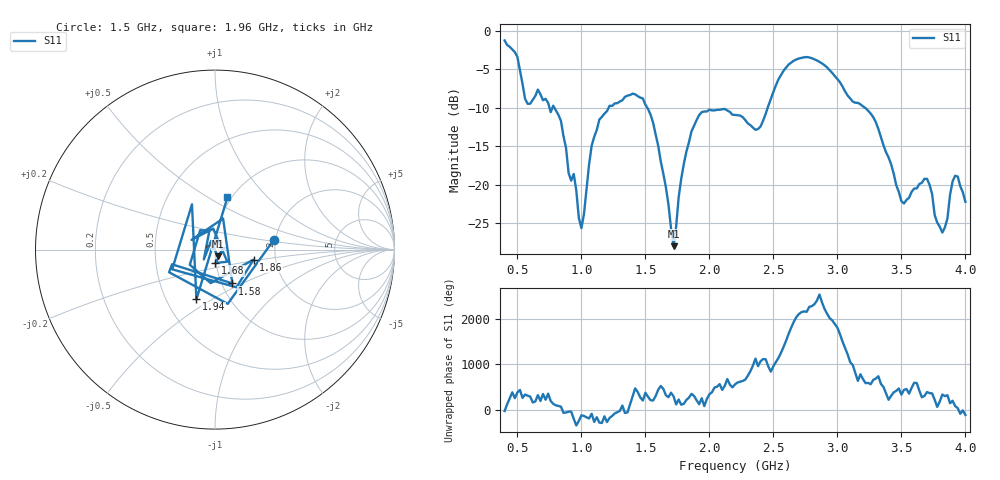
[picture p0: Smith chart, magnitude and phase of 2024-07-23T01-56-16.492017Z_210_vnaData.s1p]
!Created with skrf (http://scikit-rf.org).
# Hz S RI R 50.0
!freq ReS11 ImS11
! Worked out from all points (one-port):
!   181 points, 400 MHz to 4 GHz, reference 50 ohm
!   lowest |S11| = -28.0 dB at 1.72 GHz (marker M1), VSWR 1.08, Z = 51.3 - j3.83 ohm
!   |S11| at or under -10 dB: 788.8 MHz to 1.213 GHz (424 MHz wide, 42.4 % of centre); 1.514 GHz to 2.455 GHz (941.3 MHz wide, 47.4 % of centre); 3.215 GHz to end of sweep (the widest 3 of 4)
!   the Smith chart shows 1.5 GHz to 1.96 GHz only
!   S11 on the Smith chart (normalised r, x): 1.5 GHz: 1.95, +0.23; 1.58 GHz: 1.12, -0.44; 1.68 GHz: 0.99, -0.15; 1.86 GHz: 1.53, -0.18; 1.94 GHz: 0.71, -0.43; 1.96 GHz: 0.96, +0.61
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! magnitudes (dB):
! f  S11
! 400 MHz  -1.3
! 500 MHz  -3.4
! 580 MHz  -9.5
! 660 MHz  -7.7
! 860 MHz  -13.7
! 1 GHz  -25.7
! 1.08 GHz  -14.9
! 1.14 GHz  -11.5
! 1.3 GHz  -9.2
! 1.5 GHz  -9.6
! 1.58 GHz  -13.5
! 1.68 GHz  -22.6
! 1.72 GHz  -28.0
! 1.76 GHz  -21.6
! 1.86 GHz  -13.1
! 1.94 GHz  -10.6
! 1.96 GHz  -10.5
! 2.2 GHz  -10.9
! 2.38 GHz  -12.8
! 2.66 GHz  -3.9
! 3.1 GHz  -8.8
! 3.28 GHz  -11.2
! 3.5 GHz  -22.1
! 3.56 GHz  -21.7
! 3.7 GHz  -19.2
! 3.82 GHz  -26.2
! 3.92 GHz  -18.8
! 4 GHz  -22.2
